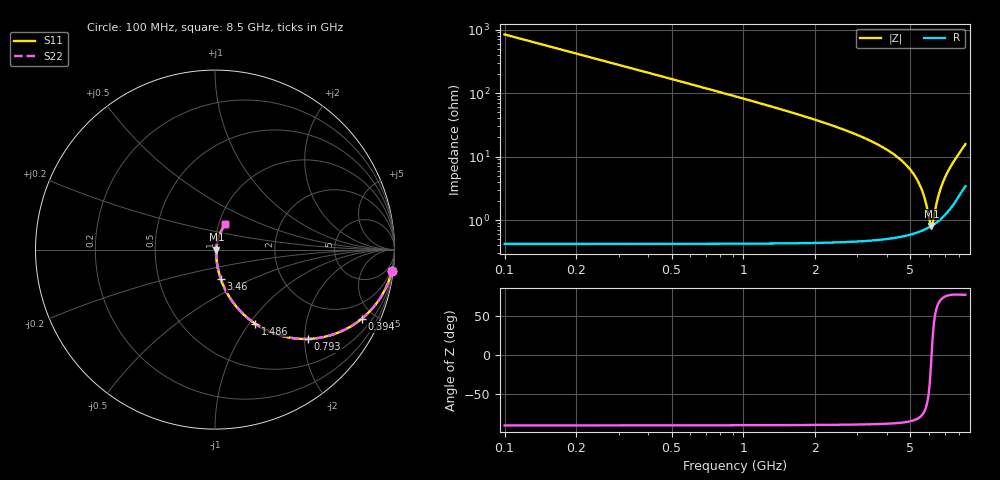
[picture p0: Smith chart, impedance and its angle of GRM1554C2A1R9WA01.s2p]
!Murata Part Number: GRM1554C2A1R9WA01
!These Parameters are Measured in Series Mode Connection
!Data Generated on Mar 30, 2021
!  o--ll--o
!Port1  Port2
!  o------o
!Operation Temp=25[degC], DC Bias Voltage=0[V]
!Freq. Start=100[MHz] Stop=9[GHz] 401[Steps]
# Hz S RI R 50
!Freq.(Hz) S11(Real) S11(Imag) S21(Real) S21(Imag) S12(Real) S12(Imag) S22(Real) S22(Imag)
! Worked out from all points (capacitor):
!   401 points, 100 MHz to 8.5 GHz, reference 50 ohm
!   read as one part in series: C = 1.9 pF near 142 MHz
!   lowest |Z| = 808 mohm at 6.127 GHz (marker M1)
!   series resonance near 6.134 GHz, so ESL is about 350 pH
!   S11 on the Smith chart (normalised r, x): 100 MHz: 1, -17; 394 MHz: 1.01, -4.24; 793 MHz: 1.01, -2.08; 1.486 GHz: 1.01, -1.07; 3.46 GHz: 1.01, -0.34; 8.5 GHz: 1.07, +0.31
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1e8  0.9859 -0.1177  0.0141 0.1177  0.0141 0.1177  0.9859 -0.1177
2.47e8  0.9195 -0.2714  0.0805 0.2714  0.0805 0.2714  0.9195 -0.2714
3.94e8  0.8173 -0.3855  0.1827 0.3855  0.1827 0.3855  0.8173 -0.3855
5.83e8  0.6696 -0.4689  0.3304 0.4689  0.3304 0.4689  0.6696 -0.4689
7.93e8  0.5198 -0.4976  0.4802 0.4976  0.4802 0.4976  0.5198 -0.4976
1.108e9  0.351 -0.4744  0.649 0.4744  0.649 0.4744  0.351 -0.4744
1.486e9  0.2238 -0.4128  0.7762 0.4128  0.7762 0.4128  0.2238 -0.4128
1.507e9  0.2185 -0.4092  0.7815 0.4092  0.7815 0.4092  0.2185 -0.4092
2.095e9  0.1166 -0.3149  0.8834 0.3149  0.8834 0.3149  0.1166 -0.3149
2.914e9  0.0536 -0.2154  0.9464 0.2154  0.9464 0.2154  0.0536 -0.2154
3.46e9  0.033 -0.1653  0.967 0.1653  0.967 0.1653  0.033 -0.1653
4.3e9  0.0161 -0.1035  0.9839 0.1035  0.9839 0.1035  0.0161 -0.1035
5.161e9  0.00875 -0.0517  0.9912 0.0517  0.9912 0.0517  0.00875 -0.0517
5.476e9  0.00773 -0.0345  0.9923 0.0345  0.9923 0.0345  0.00773 -0.0345
5.707e9  0.00746 -0.0222  0.9925 0.0222  0.9925 0.0222  0.00746 -0.0222
6.043e9  0.00779 -0.0047  0.9922 0.0047  0.9922 0.0047  0.00779 -0.0047
6.127e9  0.008 -0.000355  0.992 0.000355  0.992 0.000355  0.008 -0.000355
6.211e9  0.00828 0.00398  0.9917 -0.00398  0.9917 -0.00398  0.00828 0.00398
6.421e9  0.00922 0.0148  0.9908 -0.0148  0.9908 -0.0148  0.00922 0.0148
6.61e9  0.0104 0.0246  0.9896 -0.0246  0.9896 -0.0246  0.0104 0.0246
7.114e9  0.0155 0.0513  0.9845 -0.0513  0.9845 -0.0513  0.0155 0.0513
8.5e9  0.0537 0.1403  0.9463 -0.1403  0.9463 -0.1403  0.0537 0.1403
